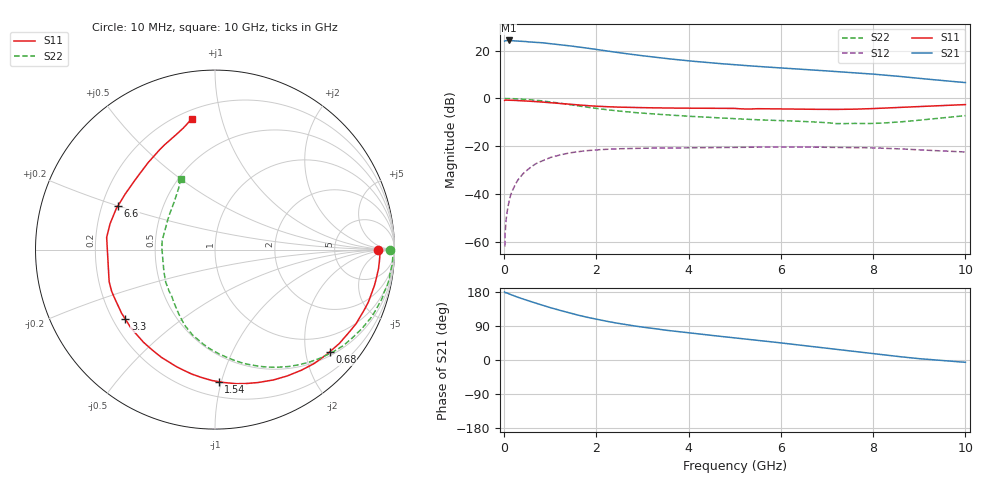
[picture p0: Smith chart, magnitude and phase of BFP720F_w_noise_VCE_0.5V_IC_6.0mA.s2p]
! Infineon Technologies  Discrete & RF Semiconductors
! BFP720F
! VCE =  0.5 V,  IC =  6.0 mA
! Common Emitter S-Parameters:  Jan 2016
# GHz  S  MA  R  50
!  f  S11  S21  S12  S22
! GHz  MAG  ANG  MAG  ANG  MAG  ANG  MAG  ANG
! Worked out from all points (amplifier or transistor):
!   233 points, 10 MHz to 10 GHz, reference 50 ohm
!   highest |S21| = 24.3 dB at 100 MHz (marker M1)
!   |S21| within 3 dB of that: start of sweep to 1.717 GHz
!   unconditionally stable (mu >= 1): start of sweep to 12.42 MHz; 7.747 GHz to end of sweep
!   at 200 MHz: K = 0.04, MSG = 31.0 dB, |S12| = -37.8 dB
!   at 1.74 GHz: K = 0.24, MSG = 21.6 dB, |S12| = -22.0 dB
!   at 10 GHz: K = 1.28, MAG = 11.3 dB, |S12| = -22.5 dB
!   lowest NFmin = 0.45 dB at 450 MHz
!   S11 on the Smith chart (normalised r, x): 10 MHz: 21, -1; 680 MHz: 0.59, -2.50; 1.54 GHz: 0.31, -0.98; 3.3 GHz: 0.25, -0.32; 6.6 GHz: 0.27, +0.20; 10 GHz: 0.25, +0.81
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0.01  0.9083 -0.3  15.82 179.5  0.0008 -3.7  0.9751 0.0
0.02  0.9197 -1.3  16.08 177.8  0.0014 81.4  0.9919 -1.5
0.05  0.919 -3.3  16.28 177.5  0.0033 85.0  0.9913 -2.4
0.1  0.9176 -6.4  16.35 174.9  0.0064 85.1  0.9912 -4.7
0.4  0.8903 -25.3  15.62 161.3  0.0257 74.8  0.9605 -19.1
0.68  0.856 -41.8  14.9 150.3  0.0422 64.4  0.9119 -32.1
0.8  0.8417 -48.9  14.72 145.7  0.0478 60.8  0.8917 -37.0
1  0.811 -60.2  14.02 138.2  0.0576 53.7  0.841 -46.1
1.3  0.7685 -76.1  13.03 128.1  0.0683 45.0  0.7697 -57.8
1.54  0.7362 -88.4  12.22 120.4  0.0748 38.7  0.7121 -66.6
1.68  0.718 -95.3  11.72 116.1  0.0781 35.1  0.6786 -71.7
2.02  0.6843 -109.1  10.54 107.0  0.0836 27.9  0.6125 -82.3
2.4  0.6596 -122.2  9.309 98.2  0.0875 20.9  0.554 -92.9
2.8  0.644 -132.6  8.262 90.3  0.0894 15.4  0.5073 -101.2
3.3  0.632 -142.3  7.226 82.2  0.091 10.0  0.4676 -109.0
3.4  0.6305 -144.1  7.038 80.5  0.0913 8.9  0.4603 -110.5
4  0.6227 -152.6  6.115 71.6  0.0925 3.6  0.4222 -117.4
5.1  0.6064 -167.7  4.982 57.0  0.0944 -4.7  0.3713 -128.2
6.6  0.5929 155.6  3.986 36.8  0.0953 -15.8  0.3244 -148.5
6.8  0.5894 151.9  3.867 34.0  0.095 -17.3  0.3163 -152.6
8.4  0.6355 119.2  2.986 11.2  0.089 -29.6  0.3121 147.1
10  0.7409 100.1  2.141 -6.1  0.0753 -35.8  0.4349 116.0
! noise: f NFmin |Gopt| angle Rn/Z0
0.45  0.45  0.44  3  0.16
0.9  0.47  0.42  10  0.17
1.8  0.52  0.38  19  0.16
2.4  0.56  0.37  28  0.14
5.5  0.74  0.34  62  0.09
10  0.97  0.25  -105  0.15
